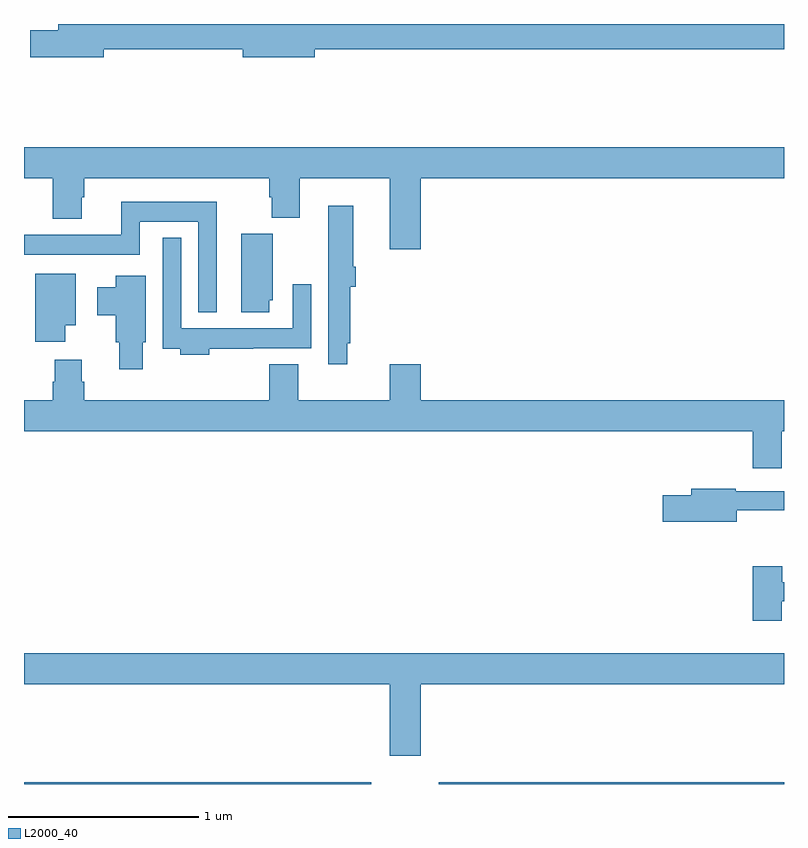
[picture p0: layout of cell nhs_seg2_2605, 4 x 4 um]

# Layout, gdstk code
import gdstk
lib = gdstk.Library(unit=1e-6, precision=1e-09)
def R(c, l, rs):  # rectangles x0, y0, x1, y1
    for r in rs: c.add(gdstk.rectangle(r[:2], r[2:], *l))
def P(c, l, *ps):  # polygons
    for p in ps: c.add(gdstk.Polygon(p, *l))
L2000_40 = (2000, 40)

nhs_seg2_2605 = lib.new_cell('nhs_seg2_2605')
R(nhs_seg2_2605, L2000_40, [(247,625.8,248.828,625.808), (249.184,625.8,251,625.808)])
P(nhs_seg2_2605, L2000_40, [(247.42,629.668),(248.15,629.668),(248.15,629.626),(248.53,629.626),(248.53,629.668),(251,629.668),(251,629.8),(247.181,629.8),(247.181,629.768),(247.032,629.768),(247.032,629.626),(247.42,629.626)],
  [(249.088,628.988),(251,628.988),(251,629.152),(247,629.152),(247,628.988),(247.151,628.988),(247.151,628.775),(247.303,628.775),(247.303,628.887),(247.316,628.887),(247.316,628.988),(248.291,628.988),(248.291,628.889),(248.303,628.889),(248.303,628.78),(248.451,628.78),(248.451,628.988),(248.924,628.988),(248.924,628.614),(249.088,628.614)],
  [(248.014,628.864),(247.511,628.864),(247.511,628.69),(247,628.69),(247,628.586),(247.608,628.586),(247.608,628.76),(247.917,628.76),(247.917,628.283),(248.014,628.283)],
  [(248.7,628.12),(248.717,628.12),(248.717,628.418),(248.747,628.418),(248.747,628.522),(248.734,628.522),(248.734,628.843),(248.6,628.843),(248.6,628.522),(248.601,628.522),(248.601,628.008),(248.7,628.008)],
  [(248.29,628.347),(248.308,628.347),(248.308,628.695),(248.144,628.695),(248.144,628.284),(248.29,628.284)],
  [(247.976,628.092),(248.207,628.092),(248.207,628.094),(248.511,628.094),(248.511,628.429),(248.415,628.429),(248.415,628.198),(247.827,628.198),(247.827,628.675),(247.731,628.675),(247.731,628.092),(247.823,628.092),(247.823,628.058),(247.976,628.058)],
  [(247.216,628.214),(247.273,628.214),(247.273,628.486),(247.058,628.486),(247.058,628.128),(247.216,628.128)],
  [(247.624,628.125),(247.642,628.125),(247.642,628.474),(247.484,628.474),(247.484,628.414),(247.385,628.414),(247.385,628.267),(247.484,628.267),(247.484,628.125),(247.502,628.125),(247.502,627.984),(247.624,627.984)],
  [(250.987,627.656),(251,627.656),(251,627.82),(249.088,627.82),(249.088,628.009),(248.924,628.009),(248.924,627.82),(248.443,627.82),(248.443,628.009),(248.291,628.009),(248.291,627.82),(247.316,627.82),(247.316,627.918),(247.303,627.918),(247.303,628.033),(247.163,628.033),(247.163,627.918),(247.151,627.918),(247.151,627.82),(247,627.82),(247,627.656),(250.835,627.656),(250.835,627.462),(250.987,627.462)],
  [(250.75,627.241),(251,627.241),(251,627.342),(250.746,627.342),(250.746,627.355),(250.511,627.355),(250.511,627.321),(250.362,627.321),(250.362,627.179),(250.75,627.179)],
  [(250.987,626.763),(251,626.763),(251,626.863),(250.99,626.863),(250.99,626.947),(250.835,626.947),(250.835,626.658),(250.987,626.658)],
  [(249.088,626.324),(251,626.324),(251,626.488),(247,626.488),(247,626.324),(248.924,626.324),(248.924,625.95),(249.088,625.95)])

lib.write_gds('nhs_seg2_2605.gds')
